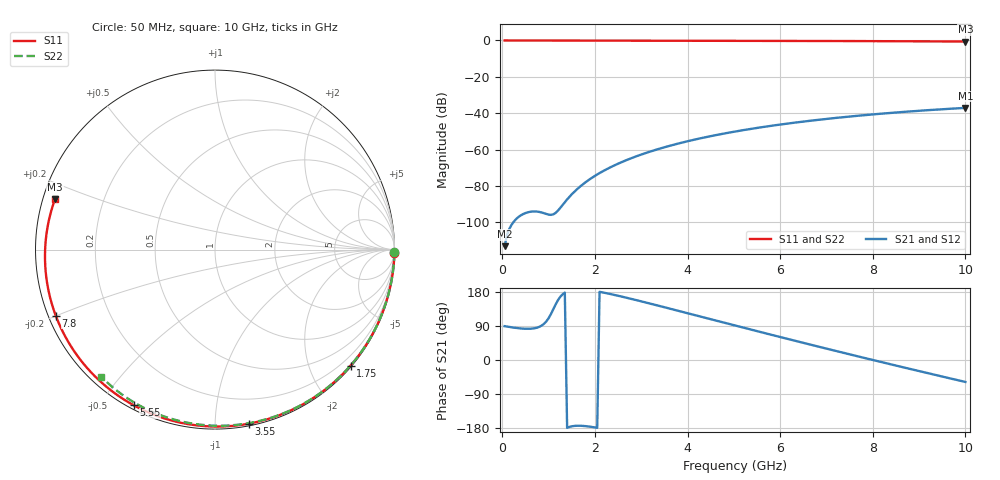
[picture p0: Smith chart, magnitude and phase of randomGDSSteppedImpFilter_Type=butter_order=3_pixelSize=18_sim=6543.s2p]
! freq	dB(S11)	phase(S11)	dB(S12)	phase(S12)
!  dB(S21)	phase(S21)	dB(S22)	phase(S22)
!S-par simulation data
#  GHz  S  DB  R 50
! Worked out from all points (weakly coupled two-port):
!   200 points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, 50 MHz to 10 GHz, reference 50 ohm
!   highest |S21| = -37.06 dB at 10 GHz (marker M1); lowest = -113.0 dB at 50 MHz (marker M2)
!   lowest |S11| = -0.6 dB at 10 GHz (marker M3), VSWR 29.64, Z = 1.73 + j7.69 ohm
!   |S11| at or under -10 dB: nowhere
!   |S22| runs from -0.4 to 0.0 dB; largest |S21 - S12| = 0
!   S11 on the Smith chart (normalised r, x): 50 MHz: 0, -96; 1.75 GHz: 0.02, -2.71; 3.55 GHz: 0.01, -1.21; 5.55 GHz: 0.01, -0.61; 7.8 GHz: 0.02, -0.20; 10 GHz: 0.03, +0.15
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0.05  -0.00 -1.2  -113.03 89.3  -113.03 89.3  -0.00 -0.8
0.4  -0.01 -9.4  -96.10 83.2  -96.10 83.2  -0.01 -6.1
0.8  -0.02 -18.8  -94.23 87.5  -94.23 87.5  -0.02 -12.1
1.2  -0.04 -28.0  -93.55 157.5  -93.55 157.5  -0.02 -18.1
1.65  -0.05 -38.3  -80.93 -173.5  -80.93 -173.5  -0.03 -24.8
1.7  -0.05 -39.4  -79.85 -173.6  -79.85 -173.6  -0.03 -25.5
1.75  -0.05 -40.5  -78.84 -174.0  -78.84 -174.0  -0.03 -26.3
2.05  -0.06 -47.2  -73.63 -178.9  -73.63 -178.9  -0.04 -30.7
2.45  -0.07 -56.0  -68.29 171.0  -68.29 171.0  -0.05 -36.5
2.9  -0.08 -65.6  -63.60 157.8  -63.60 157.8  -0.06 -43.0
3.4  -0.10 -76.0  -59.43 142.4  -59.43 142.4  -0.07 -50.0
3.55  -0.10 -79.1  -58.33 137.7  -58.33 137.7  -0.07 -52.1
4.3  -0.13 -94.0  -53.65 114.0  -53.65 114.0  -0.09 -62.4
5.05  -0.16 -108.3  -49.94 90.3  -49.94 90.3  -0.11 -72.4
5.55  -0.19 -117.5  -47.87 74.6  -47.87 74.6  -0.13 -78.9
6.15  -0.22 -128.4  -45.70 56.0  -45.70 56.0  -0.15 -86.5
6.7  -0.26 -138.2  -43.97 39.1  -43.97 39.1  -0.18 -93.3
7.25  -0.30 -147.9  -42.44 22.4  -42.44 22.4  -0.21 -100.0
7.8  -0.35 -157.5  -41.09 6.0  -41.09 6.0  -0.25 -106.5
8.35  -0.40 -167.2  -39.89 -10.3  -39.89 -10.3  -0.29 -113.0
9.2  -0.49 177.4  -38.29 -35.0  -38.29 -35.0  -0.36 -122.7
10  -0.59 162.5  -37.06 -57.9  -37.06 -57.9  -0.44 -131.8
